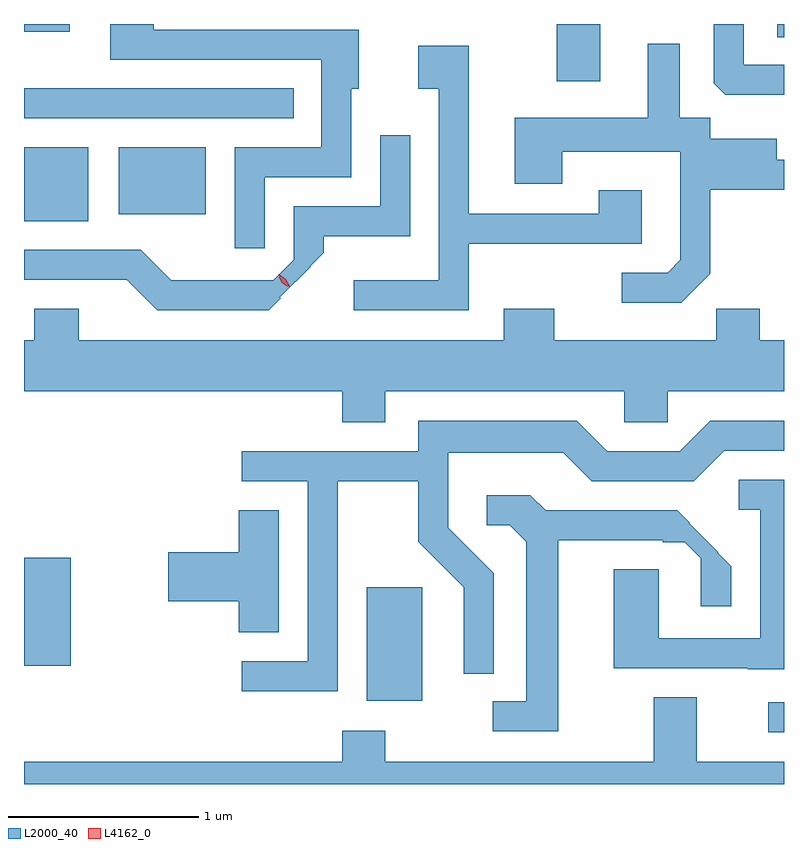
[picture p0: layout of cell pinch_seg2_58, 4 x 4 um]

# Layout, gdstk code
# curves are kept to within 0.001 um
import gdstk
lib = gdstk.Library(unit=1e-6, precision=1e-09)
def R(c, l, rs):  # rectangles x0, y0, x1, y1
    for r in rs: c.add(gdstk.rectangle(r[:2], r[2:], *l))
def P(c, l, *ps):  # polygons
    for p in ps: c.add(gdstk.Polygon(p, *l))
L2000_40 = (2000, 40)
L4162_0 = (4162, 0)

pinch_seg2_58 = lib.new_cell('pinch_seg2_58')
R(pinch_seg2_58, L2000_40, [(1221.893,1046.521,1221.977,1046.679), (1219.781,1046.686,1220.074,1047.284), (1217.977,1046.871,1218.224,1047.439), (1217.977,1049.211,1218.314,1049.599), (1218.476,1049.246,1218.934,1049.599), (1217.977,1049.751,1219.398,1049.909), (1220.781,1049.946,1221.009,1050.248), (1221.941,1050.178,1221.977,1050.248), (1217.977,1050.206,1218.219,1050.248)])
P(pinch_seg2_58, L2000_40, [(1219.244,1049.441),(1219.699,1049.441),(1219.699,1049.906),(1219.739,1049.906),(1219.739,1050.219),(1218.659,1050.219),(1218.659,1050.248),(1218.431,1050.248),(1218.431,1050.061),(1219.541,1050.061),(1219.541,1049.599),(1219.086,1049.599),(1219.086,1049.068),(1219.244,1049.068)],
  [(1221.977,1050.034),(1221.764,1050.034),(1221.764,1050.248),(1221.606,1050.248),(1221.606,1049.937),(1221.667,1049.876),(1221.977,1049.876)],
  [(1221.589,1048.934),(1221.589,1049.376),(1221.977,1049.376),(1221.977,1049.534),(1221.939,1049.534),(1221.939,1049.644),(1221.589,1049.644),(1221.589,1049.754),(1221.429,1049.754),(1221.429,1050.143),(1221.261,1050.143),(1221.261,1049.754),(1220.561,1049.754),(1220.561,1049.406),(1220.809,1049.406),(1220.809,1049.576),(1221.431,1049.576),(1221.431,1049.007),(1221.364,1048.939),(1221.123,1048.939),(1221.123,1048.781),(1221.437,1048.781)],
  [(1220.319,1049.091),(1221.229,1049.091),(1221.229,1049.374),(1221.001,1049.374),(1221.001,1049.249),(1220.319,1049.249),(1220.319,1050.134),(1220.051,1050.134),(1220.051,1049.906),(1220.161,1049.906),(1220.161,1048.899),(1219.713,1048.899),(1219.713,1048.741),(1220.319,1048.741)],
  [(1219.328,1048.805),(1219.324,1048.81),(1219.485,1048.971),(1219.484,1048.973),(1219.554,1049.044),(1219.554,1049.131),(1220.009,1049.131),(1220.009,1049.663),(1219.851,1049.663),(1219.851,1049.289),(1219.396,1049.289),(1219.397,1049.007),(1219.289,1048.899),(1218.752,1048.899),(1218.592,1049.059),(1217.977,1049.059),(1217.977,1048.901),(1218.519,1048.901),(1218.679,1048.741),(1219.264,1048.741)],
  [(1220.769,1048.749),(1220.501,1048.749),(1220.501,1048.584),(1218.264,1048.584),(1218.264,1048.749),(1218.031,1048.749),(1218.031,1048.584),(1217.977,1048.584),(1217.977,1048.316),(1219.651,1048.316),(1219.651,1048.151),(1219.879,1048.151),(1219.879,1048.316),(1221.136,1048.316),(1221.136,1048.151),(1221.364,1048.151),(1221.364,1048.316),(1221.977,1048.316),(1221.977,1048.584),(1221.849,1048.584),(1221.849,1048.749),(1221.621,1048.749),(1221.621,1048.584),(1220.769,1048.584)],
  [(1219.629,1047.841),(1220.051,1047.841),(1220.051,1047.524),(1220.291,1047.284),(1220.291,1046.828),(1220.449,1046.828),(1220.449,1047.357),(1220.209,1047.597),(1220.209,1047.991),(1220.814,1047.991),(1220.964,1047.841),(1221.502,1047.841),(1221.662,1048.001),(1221.977,1048.001),(1221.977,1048.159),(1221.589,1048.159),(1221.429,1047.999),(1221.047,1047.999),(1220.887,1048.159),(1220.051,1048.159),(1220.051,1047.999),(1219.123,1047.999),(1219.123,1047.841),(1219.471,1047.841),(1219.471,1046.894),(1219.123,1046.894),(1219.123,1046.736),(1219.629,1046.736)],
  [(1221.977,1047.849),(1221.738,1047.849),(1221.738,1047.691),(1221.851,1047.691),(1221.851,1047.014),(1221.319,1047.014),(1221.319,1047.379),(1221.081,1047.379),(1221.081,1046.856),(1221.785,1046.856),(1221.785,1046.851),(1221.977,1046.851)],
  [(1220.789,1047.531),(1221.34,1047.531),(1221.34,1047.52),(1221.455,1047.52),(1221.539,1047.436),(1221.539,1047.183),(1221.699,1047.183),(1221.699,1047.395),(1221.628,1047.466),(1221.63,1047.469),(1221.479,1047.62),(1221.482,1047.623),(1221.416,1047.689),(1220.722,1047.689),(1220.642,1047.769),(1220.413,1047.769),(1220.413,1047.611),(1220.534,1047.611),(1220.621,1047.524),(1220.621,1046.684),(1220.443,1046.684),(1220.443,1046.526),(1220.789,1046.526)],
  [(1219.319,1047.689),(1219.106,1047.689),(1219.106,1047.469),(1218.736,1047.469),(1218.736,1047.211),(1219.106,1047.211),(1219.106,1047.046),(1219.319,1047.046)],
  [(1221.977,1046.364),(1221.519,1046.364),(1221.519,1046.704),(1221.291,1046.704),(1221.291,1046.364),(1219.879,1046.364),(1219.879,1046.529),(1219.651,1046.529),(1219.651,1046.364),(1217.977,1046.364),(1217.977,1046.248),(1221.977,1046.248)])
P(pinch_seg2_58, L4162_0, [(1219.374,1048.866),(1219.339,1048.891),(1219.319,1048.929),(1219.319,1048.93),(1219.32,1048.93),(1219.354,1048.905),(1219.375,1048.867),(1219.375,1048.866)],
  [(1219.364,1048.866),(1219.333,1048.886),(1219.317,1048.919),(1219.317,1048.919),(1219.318,1048.919),(1219.348,1048.899),(1219.364,1048.866),(1219.364,1048.866)])

lib.write_gds('pinch_seg2_58.gds')
